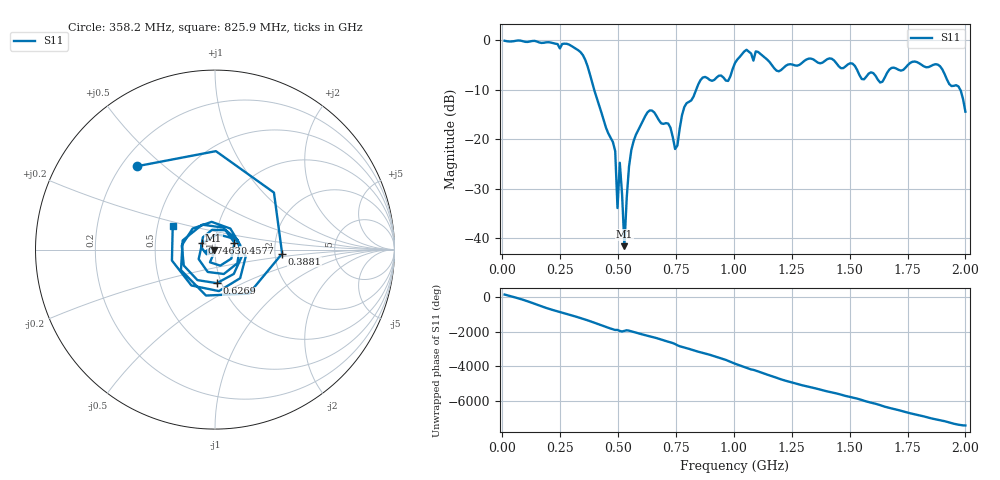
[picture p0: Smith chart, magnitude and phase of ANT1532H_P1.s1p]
!Created with skrf (http://scikit-rf.org).
# Hz S RI R 50.0
!freq ReS11 ImS11
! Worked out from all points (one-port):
!   201 points, 10 MHz to 2 GHz, reference 50 ohm
!   lowest |S11| = -41.6 dB at 527.4 MHz (marker M1), VSWR 1.02, Z = 49.2 - j0.254 ohm
!   |S11| at or under -10 dB: 397 MHz to 837.1 MHz (440.1 MHz wide, 71.3 % of centre); 1.978 GHz to end of sweep
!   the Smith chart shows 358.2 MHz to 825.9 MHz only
!   S11 on the Smith chart (normalised r, x): 358.2 MHz: 0.26, +0.41; 388.1 MHz: 2.19, -0.11; 457.8 MHz: 1.24, +0.10; 626.9 MHz: 0.95, -0.37; 746.3 MHz: 0.86, +0.06; 825.9 MHz: 0.60, +0.17
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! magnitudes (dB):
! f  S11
! 10 MHz  -0.1
! 258.8 MHz  -0.7
! 358.2 MHz  -3.9
! 388.1 MHz  -8.5
! 457.8 MHz  -18.8
! 487.6 MHz  -22.4
! 497.6 MHz  -33.9
! 507.5 MHz  -24.7
! 527.4 MHz  -41.6
! 537.4 MHz  -31.8
! 557.2 MHz  -22.2
! 626.9 MHz  -14.6
! 716.5 MHz  -16.8
! 746.3 MHz  -22.0
! 756.2 MHz  -21.2
! 786.1 MHz  -13.5
! 825.9 MHz  -11.4
! 865.7 MHz  -7.5
! 975.1 MHz  -8.2
! 1.005 GHz  -4.6
! 1.055 GHz  -1.9
! 1.254 GHz  -4.9
! 1.502 GHz  -4.6
! 1.632 GHz  -8.5
! 1.751 GHz  -5.0
! 1.891 GHz  -5.2
! 1.97 GHz  -9.3
! 2 GHz  -14.4
